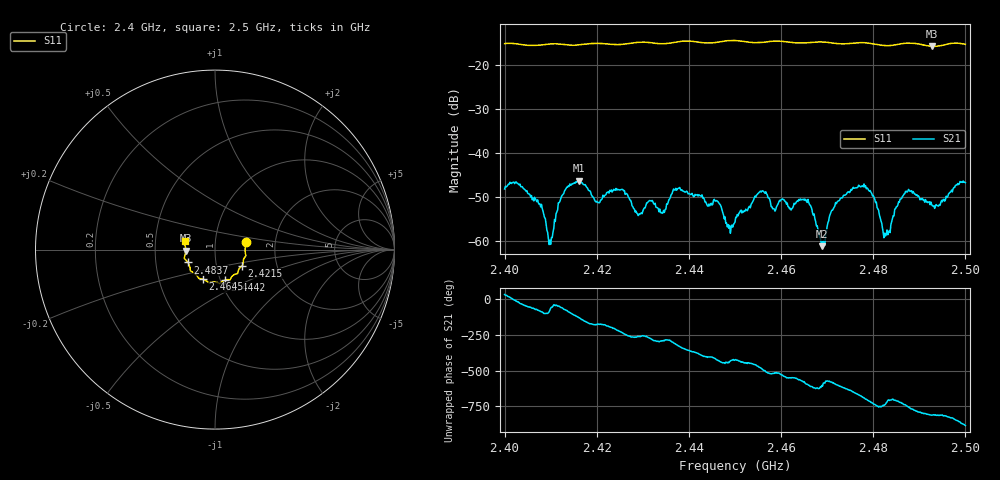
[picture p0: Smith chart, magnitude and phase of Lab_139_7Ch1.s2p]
# Hz S RI R 50
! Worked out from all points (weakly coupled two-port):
!   601 points, 2.4 GHz to 2.5 GHz, reference 50 ohm
!   highest |S21| = -46.30 dB at 2.4162 GHz (marker M1); lowest = -61.2 dB at 2.4688 GHz (marker M2)
!   lowest |S11| = -15.7 dB at 2.4928 GHz (marker M3), VSWR 1.39, Z = 36 - j0.385 ohm
!   |S11| at or under -10 dB: start of sweep to end of sweep
!   S12 and S22 are empty: the file has one direction only
!   S11 on the Smith chart (normalised r, x): 2.4 GHz: 1.41, +0.12; 2.4215 GHz: 1.33, -0.25; 2.4442 GHz: 1.05, -0.37; 2.4645 GHz: 0.83, -0.29; 2.4837 GHz: 0.73, -0.11; 2.5 GHz: 0.71, +0.07
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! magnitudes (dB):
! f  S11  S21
! 2.4 GHz  -15.1  -48.2
! 2.407 GHz  -15.5  -51.0
! 2.41 GHz  -15.2  -60.8
! 2.4122 GHz  -15.2  -50.4
! 2.4162 GHz  -15.4  -46.3
! 2.4167 GHz  -15.3  -46.7
! 2.4215 GHz  -15.1  -50.0
! 2.4333 GHz  -15.1  -52.6
! 2.4377 GHz  -14.7  -48.1
! 2.4442 GHz  -15.0  -52.1
! 2.45 GHz  -14.4  -55.7
! 2.4557 GHz  -14.8  -48.9
! 2.4645 GHz  -15.0  -50.5
! 2.4667 GHz  -14.8  -52.7
! 2.4688 GHz  -14.7  -61.2
! 2.472 GHz  -15.1  -51.5
! 2.4772 GHz  -14.9  -47.6
! 2.4833 GHz  -15.6  -58.0
! 2.4837 GHz  -15.5  -58.1
! 2.4873 GHz  -15.0  -48.9
! 2.4928 GHz  -15.7  -52.0
! 2.5 GHz  -15.3  -46.7
